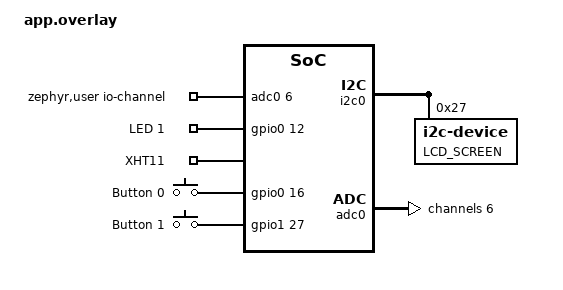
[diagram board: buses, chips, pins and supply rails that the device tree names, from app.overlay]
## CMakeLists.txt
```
# SPDX-License-Identifier: Apache-2.0

cmake_minimum_required(VERSION 3.20.0)

find_package(Zephyr REQUIRED HINTS $ENV{ZEPHYR_BASE})
project(hello_world)

target_sources(app PRIVATE src/main.c src/lcd_screen_i2c.c)
```

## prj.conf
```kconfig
CONFIG_ESP32_USE_UNSUPPORTED_REVISION=y
CONFIG_I2C=y
CONFIG_SENSOR=y
CONFIG_ADC=y
CONFIG_PWM=y
```

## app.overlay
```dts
/ {

	zephyr,user {
		io-channels = <&adc0 6>;
	};

	gpio_keys {
		compatible = "gpio-keys";
		ledyellow: led_yellow {
			gpios = <&gpio0 12 GPIO_ACTIVE_HIGH>;
			label = "LED 1";
		};
		dht11: dht11 {
			compatible = "aosong,dht";
			status= "okay";
			dio-gpios = <&gpio0 17 GPIO_ACTIVE_LOW>;
			label = "XHT11";		
		};

	};

	buttons{
		button0: button_0 {
            gpios = <&gpio0 16 GPIO_PULL_UP>;
            label = "Button 0";
        };
        button1: button_1 {
            gpios = <&gpio1 27 GPIO_PULL_UP>;
            label = "Button 1";
        };
	};
	aliases {
		button-0 = &button0;
		button-1 = &button1;
		led-yellow = &ledyellow;
		led-screen = &lcdscreen;
		sw0 = &button0;
        sw1 = &button1;
	};
	
	
};


&i2c0 {
	lcdscreen: lcd_screen@27{
		compatible = "i2c-device";
		reg = <0x27>;
		label = "LCD_SCREEN";
	};
};

&adc0 {
	status = "okay";
	#address-cells = <1>;
	#size-cells = <0>;

	channel@6 {
		reg = <6>;
		zephyr,gain = "ADC_GAIN_1_4";
		zephyr,reference = "ADC_REF_INTERNAL";
		zephyr,acquisition-time = <ADC_ACQ_TIME_DEFAULT>;
		zephyr,resolution = <12>;
	};
};
```

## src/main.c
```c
#include <stdio.h>
#include <inttypes.h>
#include <stddef.h>
#include <stdint.h>
#include <unistd.h>
#include <zephyr/drivers/sensor.h>
#include <zephyr/devicetree.h>
#include <zephyr/drivers/i2c.h>
#include <zephyr/drivers/adc.h>
#include "lcd_screen_i2c.h"
#include <zephyr/kernel.h>
#include <zephyr/drivers/gpio.h>
#include <inttypes.h>
#include <zephyr/sys/util.h>

#define LED_YELLOW_NODE DT_ALIAS(led_yellow)
#define LCD_I2C_NODE DT_ALIAS(led_screen)
#define BUTTON_0_NODE DT_ALIAS(button_0)
#define BUTTON_1_NODE DT_ALIAS(button_1)
#define DT_SPEC_AND_COMMA(node_id, prop, idx) \
    ADC_DT_SPEC_GET_BY_IDX(node_id, idx),

/* Data of ADC io-channels specified in devicetree. */
static const struct adc_dt_spec adc_channels[] = {
    DT_FOREACH_PROP_ELEM(DT_PATH(zephyr_user), io_channels,
                         DT_SPEC_AND_COMMA)};

#define SW0_NODE DT_ALIAS(sw0)

static const struct gpio_dt_spec button = GPIO_DT_SPEC_GET_OR(SW0_NODE, gpios, {0});
static struct gpio_callback button_cb_data;
const struct gpio_dt_spec led_yellow_gpio = GPIO_DT_SPEC_GET_OR(LED_YELLOW_NODE, gpios, {0});
const struct i2c_dt_spec dev_lcd_screen = I2C_DT_SPEC_GET(LCD_I2C_NODE);
const struct device *const dht11 = DEVICE_DT_GET_ONE(aosong_dht);
const struct gpio_dt_spec button_0 = GPIO_DT_SPEC_GET_OR(BUTTON_0_NODE, gpios, {0});
const struct gpio_dt_spec button_1 = GPIO_DT_SPEC_GET_OR(BUTTON_1_NODE, gpios, {0});

void button_pressed(const struct device *dev, struct gpio_callback *cb, uint32_t pins){
    printk("Le bouton est pressé : %" PRIu32 "\n", k_cycle_get_32());
}

void thread_humidity_ADC(){
    // ADC :
    int err;
    uint32_t count = 0;
    uint16_t buf;
    struct adc_sequence sequence = {
        .buffer = &buf,
        /* buffer size in bytes, not number of samples */
        .buffer_size = sizeof(buf),
    };

    /* Configure channels individually prior to sampling. */
    for (size_t i = 0U; i < ARRAY_SIZE(adc_channels); i++)
    {
        if (!adc_is_ready_dt(&adc_channels[i]))
        {
            printk("ADC controller device %s not ready\n", adc_channels[i].dev->name);
        }
        err = adc_channel_setup_dt(&adc_channels[i]);
        if (err < 0)
        {
            printk("Could not setup channel #%d (%d)\n", i, err);
        }
    }

    while(1)
    {
        k_sleep(K_SECONDS(10));
        printf("-------------------------------------------- \n");
        printk("L'ADC affiche :", count++);
        for (size_t i = 0U; i < ARRAY_SIZE(adc_channels); i++)
        {
            int32_t val_mv;
            (void)adc_sequence_init_dt(&adc_channels[i], &sequence);
            err = adc_read_dt(&adc_channels[i], &sequence);
            if (err < 0)
            {
                printk("Could not read (%d)\n", err);
                continue;
            }
            if (adc_channels[i].channel_cfg.differential)
            {
                val_mv = (int32_t)((int16_t)buf);
            }
            else
            {
                val_mv = (int32_t)buf;
            }
            err = adc_raw_to_millivolts_dt(&adc_channels[i],
                                           &val_mv);
            if (err < 0)
            {
                printk(" (value in mV not available)\n");
            }
            else
            {
                printk(" une humidité à %" PRId32 " mV\n", val_mv);
            }
        }
    }
}

void thread_humidity_and_temperature()
{
    struct sensor_value temperature, humidity;
    while(1){
        // Température et humidité :
        sensor_sample_fetch(dht11);
        sensor_channel_get(dht11, SENSOR_CHAN_AMBIENT_TEMP, &temperature);
        sensor_channel_get(dht11, SENSOR_CHAN_HUMIDITY, &humidity);
        int temp = sensor_value_to_double(&temperature);
        int hum = sensor_value_to_double(&humidity);
        printf("La temperature est de %d°C \n", temperature);
        printf("Le taux d'humidité est de %d pourcents \n", humidity);
        printf("-------------------------------------------- \n");
        k_sleep(K_SECONDS(10));
    }
}

int main(void)
{
    // Init device
    init_lcd(&dev_lcd_screen);
    // Display a message
    write_lcd(&dev_lcd_screen, HELLO_MSG, LCD_LINE_1);
    // write_lcd_clear(&dev_lcd_screen, ZEPHYR_MSG, LCD_LINE_2);
    gpio_pin_configure_dt(&led_yellow_gpio, GPIO_OUTPUT_HIGH);

    int ret;
    if (!gpio_is_ready_dt(&button))
    {
        printk("Error: button device %s is not ready\n",
               button.port->name);
    }

    ret = gpio_pin_configure_dt(&button, GPIO_INPUT);
    if (ret != 0)
    {
        printk("Error %d: failed to configure %s pin %d\n", ret, button.port->name, button.pin);
    }
    ret = gpio_pin_interrupt_configure_dt(&button, GPIO_INT_EDGE_TO_ACTIVE);

    gpio_init_callback(&button_cb_data, button_pressed, BIT(button.pin));
    gpio_add_callback(button.port, &button_cb_data);
    printk("Set up button at %s pin %d\n", button.port->name, button.pin);

    while (1)
    {
        k_sleep(K_SECONDS(5));
    }
}
K_THREAD_DEFINE(thread_id_ADC, 521, thread_humidity_ADC, NULL, NULL, NULL, 9, 0, 0);
K_THREAD_DEFINE(thread_id_HT, 521, thread_humidity_and_temperature, NULL, NULL, NULL, 9, 0, 0);
```

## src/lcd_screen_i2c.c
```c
#include "lcd_screen_i2c.h"
#include <zephyr/drivers/i2c.h>
#include <zephyr/kernel.h>

static void lcd_toggle_enable(const struct i2c_dt_spec *dev_lcd_screen, uint8_t bits);
static void lcd_byte(const struct i2c_dt_spec *dev_lcd_screen, uint8_t bits, uint8_t mode);

    void init_lcd(const struct i2c_dt_spec *dev_lcd_screen)
{
    lcd_byte(dev_lcd_screen, 0x33, LCD_CMD);
    lcd_byte(dev_lcd_screen, 0x32, LCD_CMD);
    lcd_byte(dev_lcd_screen, 0x06, LCD_CMD);
    lcd_byte(dev_lcd_screen, 0x0c, LCD_CMD);
    lcd_byte(dev_lcd_screen, 0x28, LCD_CMD);
    lcd_byte(dev_lcd_screen, 0x01, LCD_CMD);
    write_lcd(dev_lcd_screen, HELLO_MSG, LCD_LINE_1);
    write_lcd(dev_lcd_screen, ZEPHYR_MSG, LCD_LINE_2);
}

static void lcd_byte(const struct i2c_dt_spec *dev_lcd_screen, uint8_t bits, uint8_t mode)
{
    int ret = 0;
    uint8_t bits_high = mode | (bits & 0xf0) | LCD_BACKLIGHT;
    uint8_t bits_low = mode | ((bits << 4) & 0xf0) | LCD_BACKLIGHT;
    ret = i2c_write_dt(dev_lcd_screen, &bits_high, sizeof(bits_high));
    if (ret != 0)
    {
        printk("ERROR while writing to I2C");
    }
    lcd_toggle_enable(dev_lcd_screen, bits_high);

    ret = i2c_write_dt(dev_lcd_screen, &bits_low, sizeof(bits_low));
    if (ret != 0)
    {
        printk("ERROR while writing to I2C");
    }
    lcd_toggle_enable(dev_lcd_screen, bits_low);
}

void write_lcd(const struct i2c_dt_spec *dev_lcd_screen, const char *msg, uint8_t line)
{
    lcd_byte(dev_lcd_screen, line, LCD_CMD);

    // Todo: fill the array with space at the end to complete the line

    if (strlen(msg) > LCD_WIDTH)
    {
        return;
    }
    for (uint8_t i = 0; i < strlen(msg); i++)
    {
        lcd_byte(dev_lcd_screen, msg[i], LCD_CHR);
    }
}

static void lcd_toggle_enable(const struct i2c_dt_spec *dev_lcd_screen, uint8_t bits)
{
    int ret = 0;
    k_sleep(K_MSEC(5));
    uint8_t bits1 = bits | LCD_ENABLE;
    ret = i2c_write_dt(dev_lcd_screen, &bits1, sizeof(bits1));
    if (ret != 0)
    {
        printk("ERROR while writing to I2C");
    }
    k_sleep(K_MSEC(5));
    uint8_t bits2 = bits & ~LCD_ENABLE;
    ret = i2c_write_dt(dev_lcd_screen, &bits2, sizeof(bits2));
    if (ret != 0)
    {
        printk("ERROR while writing to I2C");
    }
    k_sleep(K_MSEC(5));
}
```

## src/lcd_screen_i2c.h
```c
/**
 * Author: Vivien Debuchy
 * Simple library for LCD-1602 I2C
 * Based on https://github.com/sterlingbeason/LCD-1602-I2C
 */

#ifndef INC_LCD_SCREEN_I2C_H_
#define INC_LCD_SCREEN_I2C_H_

#include <zephyr/types.h>

struct i2c_dt_spec;

#define LCD_BACKLIGHT 0x08
#define LCD_CMD 0x00
#define LCD_CHR 0x01
#define LCD_ENABLE 0b00000100
#define LCD_LINE_1 0x80 // Select line 1
#define LCD_LINE_2 0xc0 // Select line 2
#define LCD_WIDTH 16    // Max number of carac per lines

#define HELLO_MSG "Oh le S"
#define ZEPHYR_MSG "Oh le J"

#define START_ALERT_MONITORING_MSG_1 "Alarm"
#define START_ALERT_MONITORING_MSG_2 "Protection"

#define INTRUDER_MSG_1 "INTRUDER"
#define INTRUDER_MSG_2 "LEAVE !"

void init_lcd(const struct i2c_dt_spec *dev_lcd_screen);
void write_lcd(const struct i2c_dt_spec *dev_lcd_screen, const char *msg, uint8_t line);
void write_lcd_clear(const struct i2c_dt_spec *dev_lcd_screen, const char *msg, uint8_t line);

#endif // INC_LDC_SCREEN_I2C_H_
```
